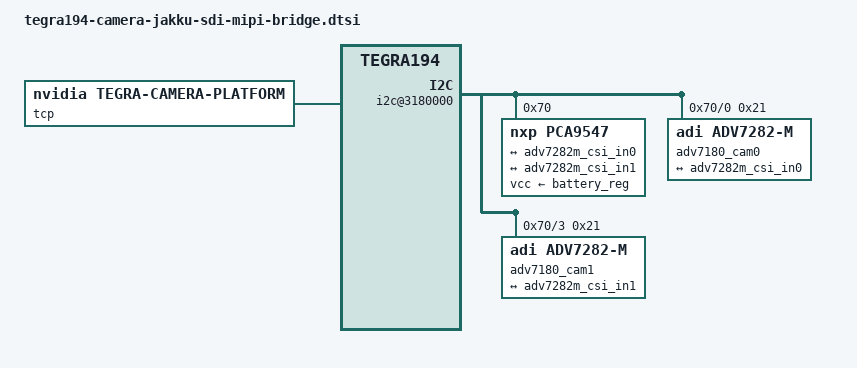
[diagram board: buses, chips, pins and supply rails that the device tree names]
/*
 * Copyright (c) 2021, Antmicro. All rights reserved.
 *
 * This program is free software; you can redistribute it and/or modify
 * it under the terms of the GNU General Public License as published by
 * the Free Software Foundation; either version 2 of the License, or
 * (at your option) any later version.
 *
 * This program is distributed in the hope that it will be useful, but WITHOUT
 * ANY WARRANTY; without even the implied warranty of MERCHANTABILITY or
 * FITNESS FOR A PARTICULAR PURPOSE.  See the GNU General Public License for
 * more details.
 *
 * You should have received a copy of the GNU General Public License
 * along with this program.  If not, see <http://www.gnu.org/licenses/>.
 */

#include <dt-bindings/media/camera.h>

#define CAMERA_I2C_MUX_BUS(x) (0x1E + x)

/ {
	host1x {
		vi@15c10000  {
			num-channels = <2>;
			nvidia,num-vi-channels = <2>;
			ports {
				#address-cells = <1>;
				#size-cells = <0>;
				vi_port0: port@0 {
					reg = <0>;
					adv7282m_vi_in0: endpoint {
						port-index = <0>;
						bus-width = <2>;
						remote-endpoint = <&adv7282m_csi_out0>;
					};
				};
				vi_port1: port@1 {
					reg = <1>;
					adv7282m_vi_in1: endpoint {
						port-index = <4>;
						bus-width = <2>;
						remote-endpoint = <&adv7282m_csi_out1>;
					};
				};
			};
		};

		nvcsi@15a00000 {
			num-channels = <2>;
			#address-cells = <1>;
			#size-cells = <0>;
			csi_chan0: channel@0 {
				reg = <0>;
				ports {
					#address-cells = <1>;
					#size-cells = <0>;
					csi_chan0_port0: port@0 {
						reg = <0>;
						adv7282m_csi_in0: endpoint@0 {
							port-index = <0>;
							bus-width = <2>;
							remote-endpoint = <&adv7282m_out0>;
						};
					};
					csi_chan0_port1: port@1 {
						reg = <1>;
						adv7282m_csi_out0: endpoint@1 {
							remote-endpoint = <&adv7282m_vi_in0>;
						};
					};
				};
			};
			csi_chan1: channel@1 {
				reg = <1>;
				ports {
					#address-cells = <1>;
					#size-cells = <0>;
					csi_chan1_port0: port@0 {
						reg = <0>;
						adv7282m_csi_in1: endpoint@2 {
							port-index = <4>;
							bus-width = <2>;
							remote-endpoint = <&adv7282m_out1>;
						};
					};
					csi_chan1_port1: port@1 {
						reg = <1>;
						adv7282m_csi_out1: endpoint@3 {
							remote-endpoint = <&adv7282m_vi_in1>;
						};
					};
				};
			};
		};
	};

	i2c@3180000 {
		pca9547: pca9547@70 {
			compatible = "nxp,pca9547";
			status = "okay";
			reg = <0x70>;
			#address-cells = <1>;
			#size-cells = <0>;
			vcc-supply = <&battery_reg>;
			force_bus_start = <CAMERA_I2C_MUX_BUS(0)>;

			i2c@0 {
				reg = <0>;
				i2c-mux,deselect-on-exit;
				#address-cells = <1>;
				#size-cells = <0>;

				adv7180_cam0: adv7180_a@21 {
					compatible = "adi,adv7282-m";
					status = "okay";
					reg = <0x21>;
					devnode = "video0";
					use_sensor_mode_id = "true";

					ports {
						#address-cells = <1>;
						#size-cells = <0>;
						port@0 {
							reg = <0>;
							adv7282m_out0: endpoint {
								status = "okay";
								port-index = <0>;
								bus-width = <2>;
								remote-endpoint = <&adv7282m_csi_in0>;
							};
						};
					};

					mode0 {
						num_lanes = "2";
						tegra_sinterface = "serial_a";
						discontinuous_clk = "no";
						cil_settletime = "0";
						embedded_metadata_height = "0";

						/* not verified: */
						mclk_khz = "24000";
						phy_mode = "DPHY";
						dpcm_enable = "false";

						active_w = "1280";
						active_h = "720";
						pixel_t = "yuv_uyvy16";
						readout_orientation = "0";
						line_length = "5488";
						inherent_gain = "1";
						mclk_multiplier = "31.25";
						pix_clk_hz = "750000000";

						gain_factor = "16";
						framerate_factor = "1000000";
						exposure_factor = "1000000";
						min_gain_val = "16"; /* 1.0 */
						max_gain_val = "256"; /* 16.0 */
						step_gain_val = "1"; /* 0.125 */
						min_hdr_ratio = "1";
						max_hdr_ratio = "64";
						min_framerate = "1500000"; /* 1.5 */
						max_framerate = "30000000"; /* 30 */
						step_framerate = "1";
						min_exp_time = "34"; /* us */
						max_exp_time = "550385"; /* us */
						step_exp_time = "1";
					};
				};
			};

			i2c@3 {
				reg = <3>;
				i2c-mux,deselect-on-exit;
				#address-cells = <1>;
				#size-cells = <0>;

				adv7180_cam1: adv7180_c@21 {
					compatible = "adi,adv7282-m";
					status = "okay";
					reg = <0x21>;
					devnode = "video1";
					use_sensor_mode_id = "true";

					ports {
						#address-cells = <1>;
						#size-cells = <0>;
						port@0 {
							reg = <0>;
							adv7282m_out1: endpoint {
								status = "okay";
								port-index = <4>;
								bus-width = <2>;
								remote-endpoint = <&adv7282m_csi_in1>;
							};
						};
					};

					mode0 {
						num_lanes = "2";
						tegra_sinterface = "serial_c";
						discontinuous_clk = "no";
						cil_settletime = "0";
						embedded_metadata_height = "0";

						/* not verified: */
						mclk_khz = "24000";
						phy_mode = "DPHY";
						dpcm_enable = "false";

						active_w = "1280";
						active_h = "720";
						pixel_t = "yuv_uyvy16";
						readout_orientation = "0";
						line_length = "5488";
						inherent_gain = "1";
						mclk_multiplier = "31.25";
						pix_clk_hz = "750000000";

						gain_factor = "16";
						framerate_factor = "1000000";
						exposure_factor = "1000000";
						min_gain_val = "16"; /* 1.0 */
						max_gain_val = "256"; /* 16.0 */
						step_gain_val = "1"; /* 0.125 */
						min_hdr_ratio = "1";
						max_hdr_ratio = "64";
						min_framerate = "1500000"; /* 1.5 */
						max_framerate = "30000000"; /* 30 */
						step_framerate = "1";
						min_exp_time = "34"; /* us */
						max_exp_time = "550385"; /* us */
						step_exp_time = "1";
					};
				};
			};
		};
	};

	tcp: tegra-camera-platform {
		compatible = "nvidia, tegra-camera-platform";
		/**
		* Physical settings to calculate max ISO BW
		*
		* num_csi_lanes = <>;
		* Total number of CSI lanes when all cameras are active
		*
		* max_lane_speed = <>;
		* Max lane speed in Kbit/s
		*
		* min_bits_per_pixel = <>;
		* Min bits per pixel
		*
		* vi_peak_byte_per_pixel = <>;
		* Max byte per pixel for the VI ISO case
		*
		* vi_bw_margin_pct = <>;
		* Vi bandwidth margin in percentage
		*
		* max_pixel_rate = <>;
		* Max pixel rate in Kpixel/s for the ISP ISO case
		*
		* isp_peak_byte_per_pixel = <>;
		* Max byte per pixel for the ISP ISO case
		*
		* isp_bw_margin_pct = <>;
		* Isp bandwidth margin in percentage
		*/
		num_csi_lanes = <4>;
		max_lane_speed = <1500000>;
		min_bits_per_pixel = <10>;
		vi_peak_byte_per_pixel = <2>;
		vi_bw_margin_pct = <25>;
		max_pixel_rate = <240000>;
		isp_peak_byte_per_pixel = <5>;
		isp_bw_margin_pct = <25>;

		/**
		 * The general guideline for naming badge_info contains 3 parts, and is as follows,
		 * The first part is the camera_board_id for the module; if the module is in a FFD
		 * platform, then use the platform name for this part.
		 * The second part contains the position of the module, ex. "rear" or "front".
		 * The third part contains the last 6 characters of a part number which is found
		 * in the module's specsheet from the vendor.
		 */
		modules {
			module0 {
				status = "okay";
				badge = "adv7282-m_front";
				position = "front";
				orientation = "1";
				drivernode0 {
					pcl_id = "v4l2_sensor";
					devname = "adv7282-m 30-0021";
					proc-device-tree = "/proc/device-tree/i2c@3180000/pca9547@70/i2c@0/adv7180_a@21";
				};
			};
			module1 {
				status = "okay";
				badge = "adv7282-m_side";
				position = "side";
				orientation = "1";
				drivernode0 {
					pcl_id = "v4l2_sensor";
					devname = "adv7282-m 33-0021";
					proc-device-tree = "/proc/device-tree/i2c@3180000/pca9547@70/i2c@3/adv7180_c@21";
				};
			};
		};
	};
};

